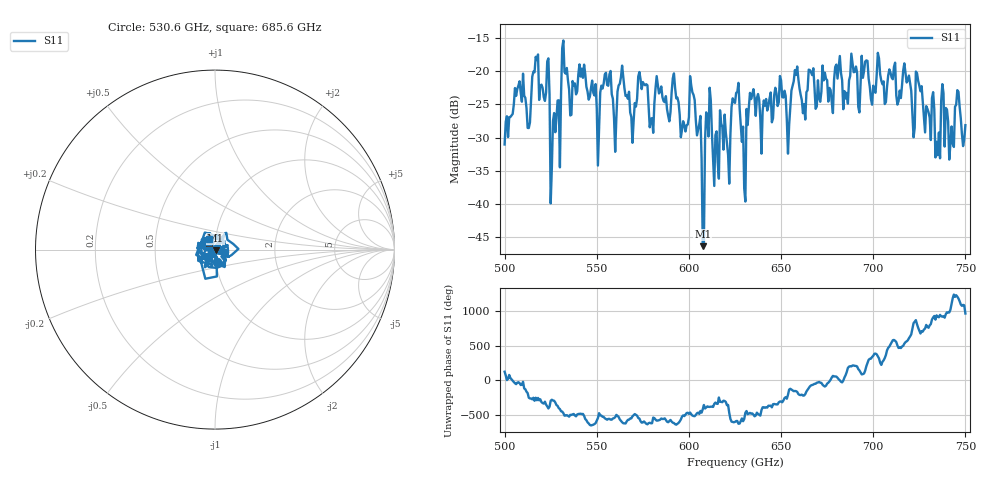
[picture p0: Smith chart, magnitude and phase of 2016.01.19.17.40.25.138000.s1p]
!Created with skrf (http://scikit-rf.org).
# GHz S RI R 50.0
!freq ReS11 ImS11
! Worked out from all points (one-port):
!   401 points, 500 GHz to 750 GHz, reference 50 ohm
!   lowest |S11| = -46.4 dB at 607.5 GHz (marker M1), VSWR 1.01, Z = 50.3 - j0.387 ohm
!   |S11| at or under -10 dB: start of sweep to end of sweep
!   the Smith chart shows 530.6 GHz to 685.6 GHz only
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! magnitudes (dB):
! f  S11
! 500 GHz  -31.0
! 506.9 GHz  -22.7
! 513.1 GHz  -28.6
! 516.9 GHz  -17.8
! 523.1 GHz  -18.5
! 526.2 GHz  -27.5
! 531.2 GHz  -16.5
! 551.2 GHz  -28.6
! 556.2 GHz  -22.2
! 559.4 GHz  -27.1
! 562.5 GHz  -21.9
! 569.4 GHz  -30.8
! 573.8 GHz  -21.2
! 579.4 GHz  -27.2
! 593.8 GHz  -24.0
! 601.9 GHz  -23.2
! 607.5 GHz  -46.4
! 610.6 GHz  -29.8
! 615 GHz  -29.1
! 625 GHz  -24.8
! 629.4 GHz  -28.3
! 634.4 GHz  -23.5
! 656.2 GHz  -22.1
! 687.5 GHz  -20.7
! 718.8 GHz  -21.3
! 735 GHz  -32.7
! 738.1 GHz  -23.3
! 750 GHz  -28.1
